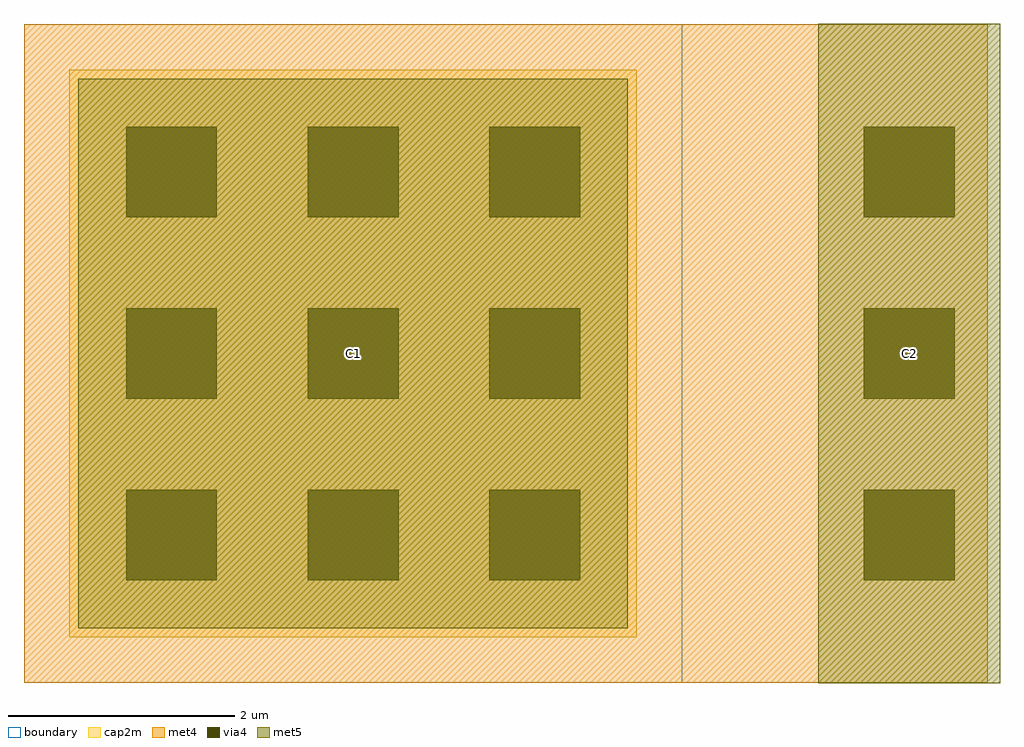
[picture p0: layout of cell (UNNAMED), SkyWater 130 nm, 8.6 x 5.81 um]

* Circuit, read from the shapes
.subckt (UNNAMED) C1 C2
XC1 C1 C2 sky130_fd_pr__cap_mim_m3_2 w=5 l=5
.ends

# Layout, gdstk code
import gdstk
lib = gdstk.Library(unit=1e-6, precision=1e-09)
def R(c, l, rs):  # rectangles x0, y0, x1, y1
    for r in rs: c.add(gdstk.rectangle(r[:2], r[2:], *l))
def A(c, l, x, y, w, h, nx, ny, dx, dy):  # array of equal rectangles
    R(c, l, [(x+i*dx, y+j*dy, x+i*dx+w, y+j*dy+h) for i in range(nx) for j in range(ny)])
met4 = (71, 20)
via4 = (71, 44)
met5 = (72, 20)
cap2m = (97, 44)
boundary = (235, 4)

c__unnamed_ = lib.new_cell('(UNNAMED)')
R(c__unnamed_, met4, [(-4.245,-2.9,4.245,2.9)])
A(c__unnamed_, via4, -3.345, -2, 0.8, 0.8, 3, 3, 1.6, 1.6)
A(c__unnamed_, via4, 3.155, -2, 0.8, 0.8, 1, 3, 0, 1.6)
R(c__unnamed_, met5, [(2.755,-2.905,4.355,2.905), (-3.765,-2.42,1.075,2.42)])
R(c__unnamed_, cap2m, [(-3.845,-2.5,1.155,2.5)])
R(c__unnamed_, boundary, [(-4.245,-2.9,1.555,2.9)])
c__unnamed_.add(gdstk.Label('C2', (3.555,0), layer=72, texttype=5))
c__unnamed_.add(gdstk.Label('C1', (-1.345,0), layer=72, texttype=5))

lib.write_gds('_UNNAMED_.gds')
